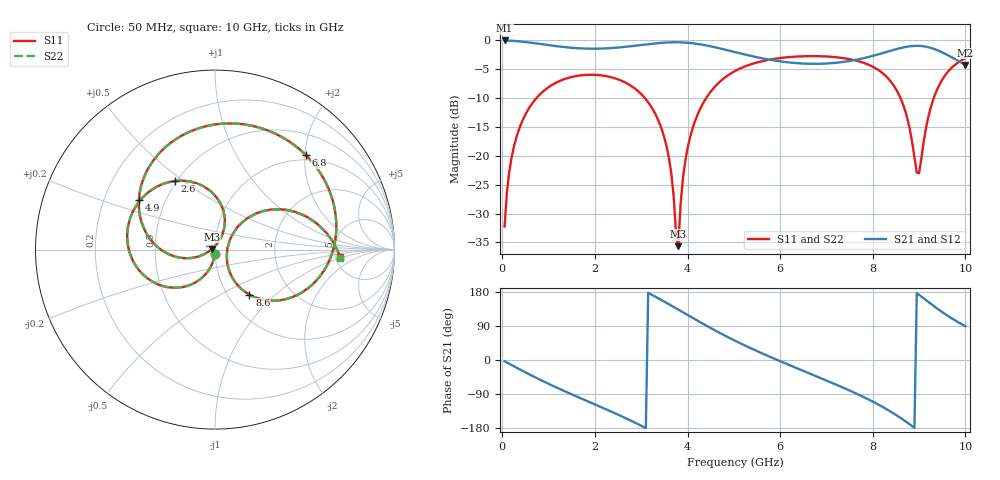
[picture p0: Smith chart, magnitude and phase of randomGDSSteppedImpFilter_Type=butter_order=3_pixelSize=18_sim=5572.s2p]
! freq	dB(S11)	phase(S11)	dB(S12)	phase(S12)
!  dB(S21)	phase(S21)	dB(S22)	phase(S22)
!S-par simulation data
#  GHz  S  DB  R 50
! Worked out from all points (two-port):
!   200 points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, 50 MHz to 10 GHz, reference 50 ohm
!   highest |S21| = -0.01 dB at 50 MHz (marker M1); lowest = -4.2 dB at 10 GHz (marker M2)
!   |S21| within 3 dB of the highest: start of sweep to 5.556 GHz; 7.84 GHz to 9.725 GHz (1.884 GHz wide, 21.5 % of centre)
!   lowest |S11| = -35.6 dB at 3.8 GHz (marker M3), VSWR 1.03, Z = 48.4 + j0.397 ohm
!   |S11| at or under -10 dB: start of sweep to 737.3 MHz; 3.08 GHz to 4.402 GHz (1.322 GHz wide, 35.3 % of centre); 8.6 GHz to 9.317 GHz (717.4 MHz wide, 8.01 % of centre)
!   |S22| runs from -35.6 to -2.7 dB; largest |S21 - S12| = 0
!   S11 on the Smith chart (normalised r, x): 50 MHz: 1.00, -0.05; 2.6 GHz: 0.49, +0.47; 4.9 GHz: 0.35, +0.26; 6.8 GHz: 0.89, +2.02; 8.6 GHz: 1.26, -0.70; 10 GHz: 5.51, -0.94
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0.05  -32.25 -93.1  -0.01 -3.4  -0.01 -3.4  -32.25 -93.1
0.2  -20.32 -103.6  -0.06 -13.3  -0.06 -13.3  -20.32 -103.6
0.5  -12.83 -123.2  -0.28 -32.7  -0.28 -32.7  -12.83 -123.2
1.1  -7.59 -159.1  -0.92 -68.7  -0.92 -68.7  -7.59 -159.1
1.75  -6.01 165.7  -1.40 -104.0  -1.40 -104.0  -6.01 165.6
2.6  -7.08 120.3  -1.16 -149.8  -1.16 -149.8  -7.08 120.3
3.4  -14.45 73.6  -0.44 160.8  -0.44 160.8  -14.45 73.5
3.65  -23.10 63.6  -0.33 143.6  -0.33 143.6  -23.10 63.5
3.8  -35.64 165.6  -0.33 133.1  -0.33 133.1  -35.65 165.6
3.9  -23.93 -156.9  -0.35 126.0  -0.35 126.0  -23.94 -157.0
4.1  -15.48 -163.3  -0.49 111.9  -0.49 111.9  -15.48 -163.4
4.9  -5.90 146.9  -1.78 58.5  -1.78 58.5  -5.90 146.7
5.05  -5.20 137.9  -2.08 49.4  -2.08 49.4  -5.20 137.8
5.9  -3.17 91.5  -3.51 2.1  -3.51 2.1  -3.17 91.3
6.7  -2.72 51.2  -4.05 -38.8  -4.05 -38.8  -2.72 51.1
6.8  -2.73 46.3  -4.05 -43.9  -4.05 -43.9  -2.73 46.1
7.6  -3.42 5.5  -3.42 -86.1  -3.42 -86.1  -3.42 5.3
8.35  -6.75 -37.8  -1.87 -133.5  -1.87 -133.5  -6.75 -37.9
8.6  -10.01 -52.6  -1.32 -152.9  -1.32 -152.9  -10.00 -52.7
9  -23.00 8.7  -0.95 171.8  -0.95 171.8  -22.91 8.4
9.35  -9.27 38.7  -1.55 139.4  -1.55 139.4  -9.27 38.5
10  -3.09 -3.6  -4.23 89.1  -4.23 89.1  -3.09 -3.8
